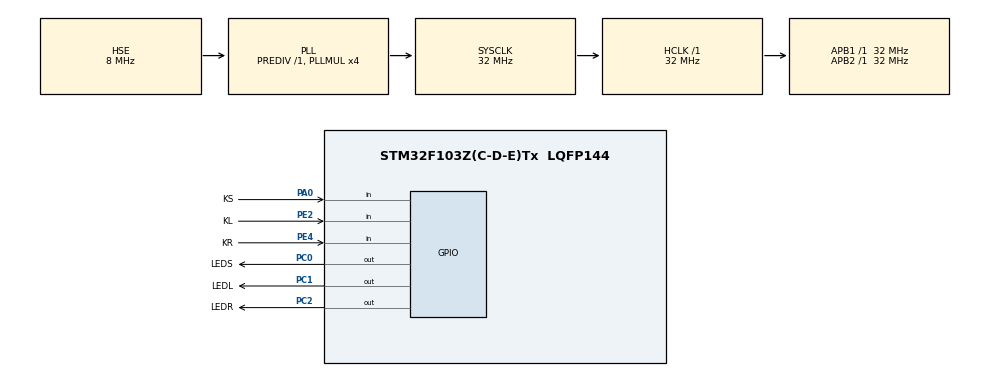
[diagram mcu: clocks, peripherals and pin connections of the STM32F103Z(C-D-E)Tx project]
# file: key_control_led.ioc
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Mcu.Family=STM32F1
Mcu.Name=STM32F103Z(C-D-E)Tx
Mcu.Package=LQFP144
NVIC.PriorityGroup=NVIC_PRIORITYGROUP_4
OSC_IN.Mode=HSE-External-Oscillator
OSC_IN.Signal=RCC_OSC_IN
OSC_OUT.Mode=HSE-External-Oscillator
OSC_OUT.Signal=RCC_OSC_OUT
PA0-WKUP.GPIO_Label=KS
PA0-WKUP.GPIO_PuPd=GPIO_PULLUP
PA0-WKUP.Signal=GPIO_Input
PA13.Mode=Serial_Wire
PA13.Signal=SYS_JTMS-SWDIO
PA14.Mode=Serial_Wire
PA14.Signal=SYS_JTCK-SWCLK
PC0.GPIO_Label=LEDS
PC0.Signal=GPIO_Output
PC1.GPIO_Label=LEDL
PC1.Signal=GPIO_Output
PC14-OSC32_IN.Mode=LSE-External-Oscillator
PC14-OSC32_IN.Signal=RCC_OSC32_IN
PC15-OSC32_OUT.Mode=LSE-External-Oscillator
PC15-OSC32_OUT.Signal=RCC_OSC32_OUT
PC2.GPIO_Label=LEDR
PC2.Signal=GPIO_Output
PE2.GPIO_Label=KL
PE2.GPIO_PuPd=GPIO_PULLUP
PE2.Signal=GPIO_Input
PE4.GPIO_Label=KR
PE4.GPIO_PuPd=GPIO_PULLUP
PE4.Signal=GPIO_Input
ProjectManager.HeapSize=0x200
ProjectManager.StackSize=0x400
ProjectManager.TargetToolchain=MDK-ARM V5.27
RCC.AHBFreq_Value=32000000
RCC.APB1Freq_Value=32000000
RCC.APB1TimFreq_Value=32000000
RCC.APB2Freq_Value=32000000
RCC.APB2TimFreq_Value=32000000
RCC.HCLKFreq_Value=32000000
RCC.PLLMUL=RCC_PLL_MUL4
RCC.PLLSourceVirtual=RCC_PLLSOURCE_HSE
RCC.SYSCLKFreq_VALUE=32000000
RCC.SYSCLKSource=RCC_SYSCLKSOURCE_PLLCLK
RCC.USBFreq_Value=32000000
board=custom

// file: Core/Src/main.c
/* USER CODE BEGIN Header */
/**
  ******************************************************************************
  * @file           : main.c
  * @brief          : Main program body
  ******************************************************************************
  * @attention
  *
  * <h2><center>&copy; Copyright (c) 2020 STMicroelectronics.
  * All rights reserved.</center></h2>
  *
  * This software component is licensed by ST under BSD 3-Clause license,
  * the "License"; You may not use this file except in compliance with the
  * License. You may obtain a copy of the License at:
  *                        opensource.org/licenses/BSD-3-Clause
  *
  ******************************************************************************
  */
/* USER CODE END Header */
#include "main.h"
#include "gpio.h"

void SystemClock_Config(void);

/* USER CODE BEGIN 0 */
void delay(unsigned int i)
{
	while(i--);
}
void scan_key()
{

	/*if(HAL_GPIO_ReadPin (KS_GPIO_Port ,KS_Pin )==GPIO_PIN_SET )
	{
			if(HAL_GPIO_ReadPin (KS_GPIO_Port ,KS_Pin )==GPIO_PIN_SET )
			{
				HAL_GPIO_TogglePin (LEDS_GPIO_Port ,LEDS_Pin );
				while(HAL_GPIO_ReadPin (KS_GPIO_Port ,KS_Pin )==GPIO_PIN_SET );
			}
	}*/

	if(HAL_GPIO_ReadPin (KL_GPIO_Port ,KL_Pin )==GPIO_PIN_RESET )
	{
			if(HAL_GPIO_ReadPin (KL_GPIO_Port ,KL_Pin )==GPIO_PIN_RESET )
			{
				while(HAL_GPIO_ReadPin (KL_GPIO_Port ,KL_Pin )==GPIO_PIN_RESET );
				HAL_GPIO_TogglePin (LEDL_GPIO_Port ,LEDL_Pin );
				while(HAL_GPIO_ReadPin (KL_GPIO_Port ,KL_Pin )==GPIO_PIN_RESET );
			}
	}

		if(HAL_GPIO_ReadPin (KR_GPIO_Port ,KR_Pin )==GPIO_PIN_RESET )
	{
			if(HAL_GPIO_ReadPin (KR_GPIO_Port ,KR_Pin )==GPIO_PIN_RESET )
			{
				HAL_GPIO_TogglePin (LEDR_GPIO_Port ,LEDR_Pin );
				while(HAL_GPIO_ReadPin (KR_GPIO_Port ,KR_Pin )==GPIO_PIN_RESET );
			}
	}

			if(HAL_GPIO_ReadPin (KS_GPIO_Port ,KS_Pin )==GPIO_PIN_SET )
	{
			if(HAL_GPIO_ReadPin (KS_GPIO_Port ,KS_Pin )==GPIO_PIN_SET )
			{
				HAL_GPIO_TogglePin (LEDS_GPIO_Port ,LEDS_Pin );
				while(HAL_GPIO_ReadPin (KS_GPIO_Port ,KS_Pin )==GPIO_PIN_SET );
			}
	}

		if(HAL_GPIO_ReadPin (KD_GPIO_Port ,KD_Pin )==GPIO_PIN_RESET )
	{
			if(HAL_GPIO_ReadPin (KD_GPIO_Port ,KD_Pin )==GPIO_PIN_RESET )
			{
				HAL_GPIO_WritePin (LEDL_GPIO_Port ,LEDL_Pin|LEDR_Pin|LEDS_Pin ,GPIO_PIN_SET );
				HAL_GPIO_TogglePin (LEDD_GPIO_Port ,LEDD_Pin);
				while(HAL_GPIO_ReadPin (KD_GPIO_Port ,KD_Pin )==GPIO_PIN_RESET );
			}
	}

}
/* USER CODE END 0 */

int main(void)
{

  /* MCU Configuration--------------------------------------------------------*/

  /* Reset of all peripherals, Initializes the Flash interface and the Systick. */
  HAL_Init();

  /* Configure the system clock */
  SystemClock_Config();

  /* Initialize all configured peripherals */
  MX_GPIO_Init();

  /* Infinite loop */
  /* USER CODE BEGIN WHILE */
  while (1)
  {
		scan_key();
    /* USER CODE END WHILE */

  }
}

void SystemClock_Config(void)
{
  RCC_OscInitTypeDef RCC_OscInitStruct = {0};
  RCC_ClkInitTypeDef RCC_ClkInitStruct = {0};

  /** Initializes the RCC Oscillators according to the specified parameters
  * in the RCC_OscInitTypeDef structure.
  */
  RCC_OscInitStruct.OscillatorType = RCC_OSCILLATORTYPE_HSE;
  RCC_OscInitStruct.HSEState = RCC_HSE_ON;
  RCC_OscInitStruct.HSEPredivValue = RCC_HSE_PREDIV_DIV1;
  RCC_OscInitStruct.HSIState = RCC_HSI_ON;
  RCC_OscInitStruct.PLL.PLLState = RCC_PLL_ON;
  RCC_OscInitStruct.PLL.PLLSource = RCC_PLLSOURCE_HSE;
  RCC_OscInitStruct.PLL.PLLMUL = RCC_PLL_MUL4;
  if (HAL_RCC_OscConfig(&RCC_OscInitStruct) != HAL_OK)
  {
    Error_Handler();
  }
  /** Initializes the CPU, AHB and APB buses clocks
  */
  RCC_ClkInitStruct.ClockType = RCC_CLOCKTYPE_HCLK|RCC_CLOCKTYPE_SYSCLK
                              |RCC_CLOCKTYPE_PCLK1|RCC_CLOCKTYPE_PCLK2;
  RCC_ClkInitStruct.SYSCLKSource = RCC_SYSCLKSOURCE_PLLCLK;
  RCC_ClkInitStruct.AHBCLKDivider = RCC_SYSCLK_DIV1;
  RCC_ClkInitStruct.APB1CLKDivider = RCC_HCLK_DIV1;
  RCC_ClkInitStruct.APB2CLKDivider = RCC_HCLK_DIV1;

  if (HAL_RCC_ClockConfig(&RCC_ClkInitStruct, FLASH_LATENCY_1) != HAL_OK)
  {
    Error_Handler();
  }
}

void Error_Handler(void)
{
}

/************************ (C) COPYRIGHT STMicroelectronics *****END OF FILE****/
